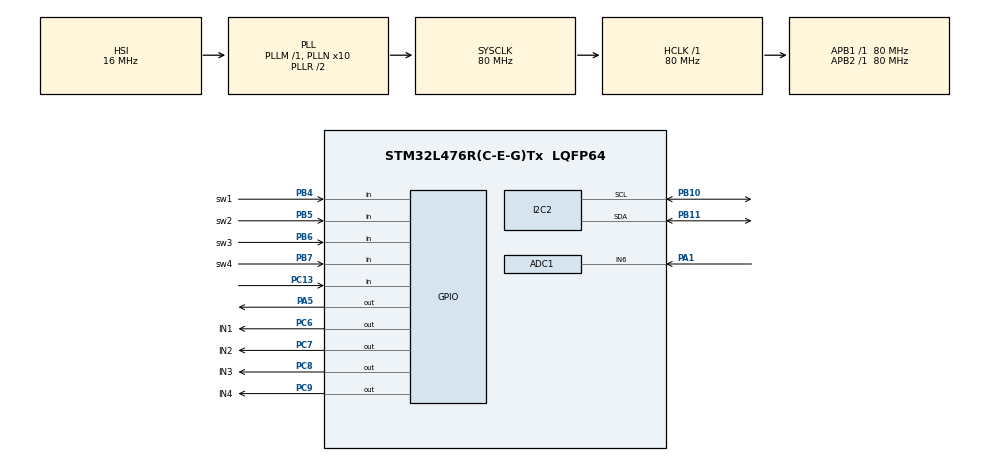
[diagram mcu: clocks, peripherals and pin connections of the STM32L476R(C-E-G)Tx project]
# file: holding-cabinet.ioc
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ADC1.Channel-0\#ChannelRegularConversion=ADC_CHANNEL_6
ADC1.NbrOfConversionFlag=1
ADC1.OffsetNumber-0\#ChannelRegularConversion=ADC_OFFSET_NONE
ADC1.Rank-0\#ChannelRegularConversion=1
ADC1.SamplingTime-0\#ChannelRegularConversion=ADC_SAMPLETIME_2CYCLES_5
ADC1.master=1
FREERTOS.Tasks01=relay1_heater,40,128,StartDefaultTask,Default,NULL,Dynamic,NULL,NULL;relay2_fan,24,128,StartTask02,Default,NULL,Dynamic,NULL,NULL;relay3_humid,16,128,StartTask03,Default,NULL,Dynamic,NULL,NULL;relay4,8,128,StartTask04,Default,NULL,Dynamic,NULL,NULL
I2C2.Timing=0x10D19CE4
Mcu.Family=STM32L4
Mcu.Name=STM32L476R(C-E-G)Tx
Mcu.Package=LQFP64
NUCLEO-L476RG.BUTTON=1
NUCLEO-L476RG.LD2=true
NVIC.ADC1_2_IRQn=true\:5\:0\:false\:false\:true\:true\:true\:true\:true
NVIC.EXTI15_10_IRQn=true\:5\:0\:false\:false\:true\:true\:false\:true\:true
NVIC.PriorityGroup=NVIC_PRIORITYGROUP_4
NVIC.TIM6_DAC_IRQn=true\:15\:0\:false\:false\:true\:false\:false\:true\:true
NVIC.TimeBase=TIM6_DAC_IRQn
NVIC.TimeBaseIP=TIM6
PA1.Signal=ADCx_IN6
PA13\ (JTMS-SWDIO).GPIO_Label=TMS
PA13\ (JTMS-SWDIO).Mode=Serial_Wire
PA13\ (JTMS-SWDIO).Signal=SYS_JTMS-SWDIO
PA14\ (JTCK-SWCLK).GPIO_Label=TCK
PA14\ (JTCK-SWCLK).Mode=Serial_Wire
PA14\ (JTCK-SWCLK).Signal=SYS_JTCK-SWCLK
PA2.GPIO_Label=USART_TX
PA2.GPIO_Mode=GPIO_MODE_AF_PP
PA2.GPIO_PuPd=GPIO_NOPULL
PA2.GPIO_Speed=GPIO_SPEED_FREQ_VERY_HIGH
PA2.Signal=USART2_TX
PA3.GPIO_Label=USART_RX
PA3.GPIO_Mode=GPIO_MODE_AF_PP
PA3.GPIO_PuPd=GPIO_NOPULL
PA3.GPIO_Speed=GPIO_SPEED_FREQ_VERY_HIGH
PA3.Signal=USART2_RX
PA5.Signal=GPIO_Output
PB10.Mode=I2C
PB10.Signal=I2C2_SCL
PB11.Mode=I2C
PB11.Signal=I2C2_SDA
PB3\ (JTDO-TRACESWO).GPIO_Label=SWO
PB3\ (JTDO-TRACESWO).Signal=SYS_JTDO-SWO
PB4\ (NJTRST).GPIO_Label=sw1
PB4\ (NJTRST).Signal=GPIO_Input
PB5.GPIO_Label=sw2
PB5.Signal=GPIO_Input
PB6.GPIO_Label=sw3
PB6.Signal=GPIO_Input
PB7.GPIO_Label=sw4
PB7.Signal=GPIO_Input
PC13.Signal=GPIO_Input
PC14-OSC32_IN\ (PC14).Signal=RCC_OSC32_IN
PC15-OSC32_OUT\ (PC15).Signal=RCC_OSC32_OUT
PC6.GPIO_Label=IN1
PC6.Signal=GPIO_Output
PC7.GPIO_Label=IN2
PC7.Signal=GPIO_Output
PC8.GPIO_Label=IN3
PC8.Signal=GPIO_Output
PC9.GPIO_Label=IN4
PC9.Signal=GPIO_Output
PH0-OSC_IN\ (PH0).Signal=RCC_OSC_IN
PH1-OSC_OUT\ (PH1).Signal=RCC_OSC_OUT
ProjectManager.HeapSize=0x200
ProjectManager.StackSize=0x400
ProjectManager.TargetToolchain=CMake
RCC.ADCFreq_Value=64000000
RCC.AHBFreq_Value=80000000
RCC.APB1Freq_Value=80000000
RCC.APB1TimFreq_Value=80000000
RCC.APB2Freq_Value=80000000
RCC.APB2TimFreq_Value=80000000
RCC.CortexFreq_Value=80000000
RCC.HCLKFreq_Value=80000000
RCC.HSE_VALUE=8000000
RCC.HSI_VALUE=16000000
RCC.LSE_VALUE=32768
RCC.MSI_VALUE=4000000
RCC.PLLN=10
RCC.PLLSourceVirtual=RCC_PLLSOURCE_HSI
RCC.PREFETCH_ENABLE=1
RCC.SYSCLKFreq_VALUE=80000000
RCC.SYSCLKSource=RCC_SYSCLKSOURCE_PLLCLK
RCC.USBFreq_Value=64000000
RCC.VCOOutputFreq_Value=160000000
SH.ADCx_IN6.0=ADC1_IN6,IN6-Single-Ended
VP_FREERTOS_VS_CMSIS_V2.Mode=CMSIS_V2
VP_NUCLEO-L476RG_VS_BSP_COMMON.Mode=COMMON
VP_SYS_VS_tim6.Mode=TIM6
board=NUCLEO-L476RG

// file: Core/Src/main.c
/* USER CODE BEGIN Header */
/**
  ******************************************************************************
  * @file           : main.c
  * @brief          : Main program body
  ******************************************************************************
  * @attention
  *
  * Copyright (c) 2026 STMicroelectronics.
  * All rights reserved.
  *
  * This software is licensed under terms that can be found in the LICENSE file
  * in the root directory of this software component.
  * If no LICENSE file comes with this software, it is provided AS-IS.
  *
  ******************************************************************************
  */
/* USER CODE END Header */
#include "main.h"
#include "cmsis_os.h"

ADC_HandleTypeDef hadc1;

I2C_HandleTypeDef hi2c2;

/* Definitions for relay1_heater */
osThreadId_t relay1_heaterHandle;
const osThreadAttr_t relay1_heater_attributes = {
  .name = "relay1_heater",
  .stack_size = 128 * 4,
  .priority = (osPriority_t) osPriorityHigh,
};
/* Definitions for relay2_fan */
osThreadId_t relay2_fanHandle;
const osThreadAttr_t relay2_fan_attributes = {
  .name = "relay2_fan",
  .stack_size = 128 * 4,
  .priority = (osPriority_t) osPriorityNormal,
};
/* Definitions for relay3_humid */
osThreadId_t relay3_humidHandle;
const osThreadAttr_t relay3_humid_attributes = {
  .name = "relay3_humid",
  .stack_size = 128 * 4,
  .priority = (osPriority_t) osPriorityBelowNormal,
};
/* Definitions for relay4 */
osThreadId_t relay4Handle;
const osThreadAttr_t relay4_attributes = {
  .name = "relay4",
  .stack_size = 128 * 4,
  .priority = (osPriority_t) osPriorityLow,
};

void SystemClock_Config(void);
static void MX_GPIO_Init(void);
static void MX_I2C2_Init(void);
static void MX_ADC1_Init(void);
void StartDefaultTask(void *argument);
void StartTask02(void *argument);
void StartTask03(void *argument);
void StartTask04(void *argument);

int main(void)
{

  /* MCU Configuration--------------------------------------------------------*/

  /* Reset of all peripherals, Initializes the Flash interface and the Systick. */
  HAL_Init();

  /* Configure the system clock */
  SystemClock_Config();

  /* Initialize all configured peripherals */
  MX_GPIO_Init();
  MX_I2C2_Init();
  MX_ADC1_Init();

  /* Init scheduler */
  osKernelInitialize();

  /* Create the thread(s) */
  /* creation of relay1_heater */
  relay1_heaterHandle = osThreadNew(StartDefaultTask, NULL, &relay1_heater_attributes);

  /* creation of relay2_fan */
  relay2_fanHandle = osThreadNew(StartTask02, NULL, &relay2_fan_attributes);

  /* creation of relay3_humid */
  relay3_humidHandle = osThreadNew(StartTask03, NULL, &relay3_humid_attributes);

  /* creation of relay4 */
  relay4Handle = osThreadNew(StartTask04, NULL, &relay4_attributes);

  /* Initialize leds */
  BSP_LED_Init(LED_GREEN);

  /* Initialize USER push-button, will be used to trigger an interrupt each time it's pressed.*/
  BSP_PB_Init(BUTTON_USER, BUTTON_MODE_EXTI);

  /* Start scheduler */
  osKernelStart();

  /* We should never get here as control is now taken by the scheduler */

  /* Infinite loop */
  while (1)
  {

  }
}

void SystemClock_Config(void)
{
  RCC_OscInitTypeDef RCC_OscInitStruct = {0};
  RCC_ClkInitTypeDef RCC_ClkInitStruct = {0};

  /** Configure the main internal regulator output voltage
  */
  if (HAL_PWREx_ControlVoltageScaling(PWR_REGULATOR_VOLTAGE_SCALE1) != HAL_OK)
  {
    Error_Handler();
  }

  /** Initializes the RCC Oscillators according to the specified parameters
  * in the RCC_OscInitTypeDef structure.
  */
  RCC_OscInitStruct.OscillatorType = RCC_OSCILLATORTYPE_HSI;
  RCC_OscInitStruct.HSIState = RCC_HSI_ON;
  RCC_OscInitStruct.HSICalibrationValue = RCC_HSICALIBRATION_DEFAULT;
  RCC_OscInitStruct.PLL.PLLState = RCC_PLL_ON;
  RCC_OscInitStruct.PLL.PLLSource = RCC_PLLSOURCE_HSI;
  RCC_OscInitStruct.PLL.PLLM = 1;
  RCC_OscInitStruct.PLL.PLLN = 10;
  RCC_OscInitStruct.PLL.PLLP = RCC_PLLP_DIV7;
  RCC_OscInitStruct.PLL.PLLQ = RCC_PLLQ_DIV2;
  RCC_OscInitStruct.PLL.PLLR = RCC_PLLR_DIV2;
  if (HAL_RCC_OscConfig(&RCC_OscInitStruct) != HAL_OK)
  {
    Error_Handler();
  }

  /** Initializes the CPU, AHB and APB buses clocks
  */
  RCC_ClkInitStruct.ClockType = RCC_CLOCKTYPE_HCLK|RCC_CLOCKTYPE_SYSCLK
                              |RCC_CLOCKTYPE_PCLK1|RCC_CLOCKTYPE_PCLK2;
  RCC_ClkInitStruct.SYSCLKSource = RCC_SYSCLKSOURCE_PLLCLK;
  RCC_ClkInitStruct.AHBCLKDivider = RCC_SYSCLK_DIV1;
  RCC_ClkInitStruct.APB1CLKDivider = RCC_HCLK_DIV1;
  RCC_ClkInitStruct.APB2CLKDivider = RCC_HCLK_DIV1;

  if (HAL_RCC_ClockConfig(&RCC_ClkInitStruct, FLASH_LATENCY_4) != HAL_OK)
  {
    Error_Handler();
  }
}

static void MX_ADC1_Init(void)
{

  ADC_MultiModeTypeDef multimode = {0};
  ADC_ChannelConfTypeDef sConfig = {0};

  /** Common config
  */
  hadc1.Instance = ADC1;
  hadc1.Init.ClockPrescaler = ADC_CLOCK_ASYNC_DIV1;
  hadc1.Init.Resolution = ADC_RESOLUTION_12B;
  hadc1.Init.DataAlign = ADC_DATAALIGN_RIGHT;
  hadc1.Init.ScanConvMode = ADC_SCAN_DISABLE;
  hadc1.Init.EOCSelection = ADC_EOC_SINGLE_CONV;
  hadc1.Init.LowPowerAutoWait = DISABLE;
  hadc1.Init.ContinuousConvMode = DISABLE;
  hadc1.Init.NbrOfConversion = 1;
  hadc1.Init.DiscontinuousConvMode = DISABLE;
  hadc1.Init.ExternalTrigConv = ADC_SOFTWARE_START;
  hadc1.Init.ExternalTrigConvEdge = ADC_EXTERNALTRIGCONVEDGE_NONE;
  hadc1.Init.DMAContinuousRequests = DISABLE;
  hadc1.Init.Overrun = ADC_OVR_DATA_PRESERVED;
  hadc1.Init.OversamplingMode = DISABLE;
  if (HAL_ADC_Init(&hadc1) != HAL_OK)
  {
    Error_Handler();
  }

  /** Configure the ADC multi-mode
  */
  multimode.Mode = ADC_MODE_INDEPENDENT;
  if (HAL_ADCEx_MultiModeConfigChannel(&hadc1, &multimode) != HAL_OK)
  {
    Error_Handler();
  }

  /** Configure Regular Channel
  */
  sConfig.Channel = ADC_CHANNEL_6;
  sConfig.Rank = ADC_REGULAR_RANK_1;
  sConfig.SamplingTime = ADC_SAMPLETIME_2CYCLES_5;
  sConfig.SingleDiff = ADC_SINGLE_ENDED;
  sConfig.OffsetNumber = ADC_OFFSET_NONE;
  sConfig.Offset = 0;
  if (HAL_ADC_ConfigChannel(&hadc1, &sConfig) != HAL_OK)
  {
    Error_Handler();
  }

}

static void MX_I2C2_Init(void)
{

  hi2c2.Instance = I2C2;
  hi2c2.Init.Timing = 0x10D19CE4;
  hi2c2.Init.OwnAddress1 = 0;
  hi2c2.Init.AddressingMode = I2C_ADDRESSINGMODE_7BIT;
  hi2c2.Init.DualAddressMode = I2C_DUALADDRESS_DISABLE;
  hi2c2.Init.OwnAddress2 = 0;
  hi2c2.Init.OwnAddress2Masks = I2C_OA2_NOMASK;
  hi2c2.Init.GeneralCallMode = I2C_GENERALCALL_DISABLE;
  hi2c2.Init.NoStretchMode = I2C_NOSTRETCH_DISABLE;
  if (HAL_I2C_Init(&hi2c2) != HAL_OK)
  {
    Error_Handler();
  }

  /** Configure Analogue filter
  */
  if (HAL_I2CEx_ConfigAnalogFilter(&hi2c2, I2C_ANALOGFILTER_ENABLE) != HAL_OK)
  {
    Error_Handler();
  }

  /** Configure Digital filter
  */
  if (HAL_I2CEx_ConfigDigitalFilter(&hi2c2, 0) != HAL_OK)
  {
    Error_Handler();
  }

}

static void MX_GPIO_Init(void)
{
  GPIO_InitTypeDef GPIO_InitStruct = {0};

  /* GPIO Ports Clock Enable */
  __HAL_RCC_GPIOC_CLK_ENABLE();
  __HAL_RCC_GPIOH_CLK_ENABLE();
  __HAL_RCC_GPIOA_CLK_ENABLE();
  __HAL_RCC_GPIOB_CLK_ENABLE();

  /*Configure GPIO pin Output Level */
  HAL_GPIO_WritePin(GPIOC, IN1_Pin|IN2_Pin|IN3_Pin|IN4_Pin, GPIO_PIN_SET);

  /*Configure GPIO pins : USART_TX_Pin USART_RX_Pin */
  GPIO_InitStruct.Pin = USART_TX_Pin|USART_RX_Pin;
  GPIO_InitStruct.Mode = GPIO_MODE_AF_PP;
  GPIO_InitStruct.Pull = GPIO_NOPULL;
  GPIO_InitStruct.Speed = GPIO_SPEED_FREQ_VERY_HIGH;
  GPIO_InitStruct.Alternate = GPIO_AF7_USART2;
  HAL_GPIO_Init(GPIOA, &GPIO_InitStruct);

  /*Configure GPIO pins : IN1_Pin IN2_Pin IN3_Pin IN4_Pin */
  GPIO_InitStruct.Pin = IN1_Pin|IN2_Pin|IN3_Pin|IN4_Pin;
  GPIO_InitStruct.Mode = GPIO_MODE_OUTPUT_PP;
  GPIO_InitStruct.Pull = GPIO_NOPULL;
  GPIO_InitStruct.Speed = GPIO_SPEED_FREQ_LOW;
  HAL_GPIO_Init(GPIOC, &GPIO_InitStruct);

  /*Configure GPIO pins : sw1_Pin sw2_Pin sw3_Pin sw4_Pin */
  GPIO_InitStruct.Pin = sw1_Pin|sw2_Pin|sw3_Pin|sw4_Pin;
  GPIO_InitStruct.Mode = GPIO_MODE_INPUT;
  GPIO_InitStruct.Pull = GPIO_NOPULL;
  HAL_GPIO_Init(GPIOB, &GPIO_InitStruct);

}

void StartDefaultTask(void *argument)
{
  /* USER CODE BEGIN 5 */
  for(;;)
  {
    HAL_GPIO_WritePin(IN1_GPIO_Port, IN1_Pin, GPIO_PIN_RESET);  // relay ON (active-low)
    osDelay(2000);
    HAL_GPIO_WritePin(IN1_GPIO_Port, IN1_Pin, GPIO_PIN_SET);    // relay OFF
    osDelay(2000);
  }
  /* USER CODE END 5 */
}

void StartTask02(void *argument)
{
  /* USER CODE BEGIN StartTask02 */
  /* Infinite loop */
  for(;;)
  {
    HAL_GPIO_WritePin(IN2_GPIO_Port, IN2_Pin, GPIO_PIN_RESET);  // relay ON (active-low)
    osDelay(1000);
    HAL_GPIO_WritePin(IN2_GPIO_Port, IN2_Pin, GPIO_PIN_SET);    // relay OFF
    osDelay(1000);
  }
  /* USER CODE END StartTask02 */
}

void StartTask03(void *argument)
{
  /* USER CODE BEGIN StartTask03 */
  /* Infinite loop */
  for(;;)
  {
    HAL_GPIO_WritePin(IN3_GPIO_Port, IN3_Pin, GPIO_PIN_RESET);  // relay ON (active-low)
    osDelay(2500);
    HAL_GPIO_WritePin(IN3_GPIO_Port, IN3_Pin, GPIO_PIN_SET);    // relay OFF
    osDelay(2500);
  }
  /* USER CODE END StartTask03 */
}

void StartTask04(void *argument)
{
  /* USER CODE BEGIN StartTask04 */
  /* Infinite loop */
  for(;;)
  {
    HAL_GPIO_WritePin(IN4_GPIO_Port, IN4_Pin, GPIO_PIN_RESET);  // relay ON (active-low)
    osDelay(3000);
    HAL_GPIO_WritePin(IN4_GPIO_Port, IN4_Pin, GPIO_PIN_SET);    // relay OFF
    osDelay(3000);
  }
  /* USER CODE END StartTask04 */
}

void HAL_TIM_PeriodElapsedCallback(TIM_HandleTypeDef *htim)
{
  if (htim->Instance == TIM6)
  {
    HAL_IncTick();
  }
}

void Error_Handler(void)
{
  __disable_irq();
  while (1)
  {
  }
}
